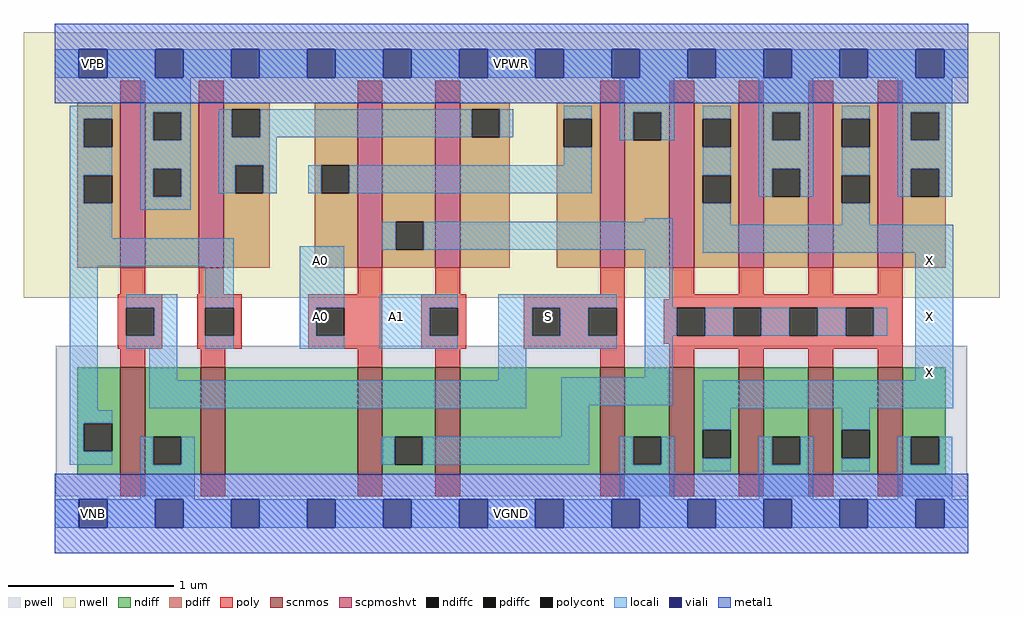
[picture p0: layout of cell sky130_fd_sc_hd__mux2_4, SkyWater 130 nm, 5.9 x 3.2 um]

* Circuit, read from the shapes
.subckt sky130_fd_sc_hd__mux2_4 A0 A1 S VGND VNB VPB VPWR X
XM1 VGND S n1 VNB sky130_fd_pr__nfet_01v8 w=0.65 l=0.15
XM2 n2 n1 VGND VNB sky130_fd_pr__nfet_01v8 w=0.65 l=0.15
XM3 n3 A0 n2 VNB sky130_fd_pr__nfet_01v8 w=0.65 l=0.15
XM4 n4 A1 n3 VNB sky130_fd_pr__nfet_01v8 w=0.65 l=0.15
XM5 VGND S n4 VNB sky130_fd_pr__nfet_01v8 w=0.65 l=0.15
XM6 X n3 VGND VNB sky130_fd_pr__nfet_01v8 w=0.65 l=0.15 m=4
XM7 VPWR S n1 VPB sky130_fd_pr__pfet_01v8_hvt w=1 l=0.15
XM8 n5 n1 VPWR VPB sky130_fd_pr__pfet_01v8_hvt w=1 l=0.15
XM9 n3 A0 n6 VPB sky130_fd_pr__pfet_01v8_hvt w=1 l=0.15
XM10 n5 A1 n3 VPB sky130_fd_pr__pfet_01v8_hvt w=1 l=0.15
XM11 VPWR S n6 VPB sky130_fd_pr__pfet_01v8_hvt w=1 l=0.15
XM12 X n3 VPWR VPB sky130_fd_pr__pfet_01v8_hvt w=1 l=0.15 m=4
.ends

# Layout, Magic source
magic
tech sky130A
magscale 1 2
<< nwell >>
rect -38 261 1142 582
<< pwell >>
rect 1 21 1103 203
rect 30 -17 64 21
<< scnmos >>
rect 79 47 109 177
rect 176 47 206 177
rect 366 47 396 177
rect 460 47 490 177
rect 659 47 689 177
rect 743 47 773 177
rect 827 47 857 177
rect 911 47 941 177
rect 995 47 1025 177
<< scpmoshvt >>
rect 79 297 109 497
rect 174 297 204 497
rect 366 297 396 497
rect 460 297 490 497
rect 659 297 689 497
rect 743 297 773 497
rect 827 297 857 497
rect 911 297 941 497
rect 995 297 1025 497
<< ndiff >>
rect 27 109 79 177
rect 27 75 35 109
rect 69 75 79 109
rect 27 47 79 75
rect 109 93 176 177
rect 109 59 119 93
rect 153 59 176 93
rect 109 47 176 59
rect 206 47 366 177
rect 396 93 460 177
rect 396 59 411 93
rect 445 59 460 93
rect 396 47 460 59
rect 490 47 659 177
rect 689 93 743 177
rect 689 59 699 93
rect 733 59 743 93
rect 689 47 743 59
rect 773 101 827 177
rect 773 67 783 101
rect 817 67 827 101
rect 773 47 827 67
rect 857 93 911 177
rect 857 59 867 93
rect 901 59 911 93
rect 857 47 911 59
rect 941 101 995 177
rect 941 67 951 101
rect 985 67 995 101
rect 941 47 995 67
rect 1025 93 1077 177
rect 1025 59 1035 93
rect 1069 59 1077 93
rect 1025 47 1077 59
<< pdiff >>
rect 27 477 79 497
rect 27 443 35 477
rect 69 443 79 477
rect 27 409 79 443
rect 27 375 35 409
rect 69 375 79 409
rect 27 297 79 375
rect 109 485 174 497
rect 109 451 119 485
rect 153 451 174 485
rect 109 417 174 451
rect 109 383 119 417
rect 153 383 174 417
rect 109 297 174 383
rect 204 489 260 497
rect 204 455 214 489
rect 248 455 260 489
rect 204 421 260 455
rect 204 387 218 421
rect 252 387 260 421
rect 204 297 260 387
rect 314 421 366 497
rect 314 387 322 421
rect 356 387 366 421
rect 314 297 366 387
rect 396 353 460 497
rect 396 319 412 353
rect 446 319 460 353
rect 396 297 460 319
rect 490 489 550 497
rect 490 455 504 489
rect 538 455 550 489
rect 490 297 550 455
rect 607 477 659 497
rect 607 443 615 477
rect 649 443 659 477
rect 607 297 659 443
rect 689 485 743 497
rect 689 451 699 485
rect 733 451 743 485
rect 689 297 743 451
rect 773 477 827 497
rect 773 443 783 477
rect 817 443 827 477
rect 773 409 827 443
rect 773 375 783 409
rect 817 375 827 409
rect 773 297 827 375
rect 857 485 911 497
rect 857 451 867 485
rect 901 451 911 485
rect 857 417 911 451
rect 857 383 867 417
rect 901 383 911 417
rect 857 297 911 383
rect 941 477 995 497
rect 941 443 951 477
rect 985 443 995 477
rect 941 409 995 443
rect 941 375 951 409
rect 985 375 995 409
rect 941 297 995 375
rect 1025 485 1077 497
rect 1025 451 1035 485
rect 1069 451 1077 485
rect 1025 417 1077 451
rect 1025 383 1035 417
rect 1069 383 1077 417
rect 1025 297 1077 383
<< ndiffc >>
rect 35 75 69 109
rect 119 59 153 93
rect 411 59 445 93
rect 699 59 733 93
rect 783 67 817 101
rect 867 59 901 93
rect 951 67 985 101
rect 1035 59 1069 93
<< pdiffc >>
rect 35 443 69 477
rect 35 375 69 409
rect 119 451 153 485
rect 119 383 153 417
rect 214 455 248 489
rect 218 387 252 421
rect 322 387 356 421
rect 412 319 446 353
rect 504 455 538 489
rect 615 443 649 477
rect 699 451 733 485
rect 783 443 817 477
rect 783 375 817 409
rect 867 451 901 485
rect 867 383 901 417
rect 951 443 985 477
rect 951 375 985 409
rect 1035 451 1069 485
rect 1035 383 1069 417
<< poly >>
rect 79 497 109 523
rect 174 497 204 523
rect 366 497 396 523
rect 460 497 490 523
rect 659 497 689 523
rect 743 497 773 523
rect 827 497 857 523
rect 911 497 941 523
rect 995 497 1025 523
rect 79 265 109 297
rect 174 265 204 297
rect 366 265 396 297
rect 460 265 490 297
rect 659 265 689 297
rect 76 249 130 265
rect 76 215 86 249
rect 120 215 130 249
rect 76 199 130 215
rect 172 249 226 265
rect 172 215 182 249
rect 216 215 226 249
rect 172 199 226 215
rect 306 249 396 265
rect 306 215 316 249
rect 350 215 396 249
rect 306 199 396 215
rect 443 249 497 265
rect 443 215 453 249
rect 487 215 497 249
rect 443 199 497 215
rect 567 249 689 265
rect 743 265 773 297
rect 827 265 857 297
rect 911 265 941 297
rect 995 265 1025 297
rect 743 259 1025 265
rect 567 215 577 249
rect 611 215 645 249
rect 679 215 689 249
rect 567 199 689 215
rect 736 249 1025 259
rect 736 215 752 249
rect 786 215 820 249
rect 854 215 888 249
rect 922 215 956 249
rect 990 215 1025 249
rect 736 205 1025 215
rect 79 177 109 199
rect 176 177 206 199
rect 366 177 396 199
rect 460 177 490 199
rect 659 177 689 199
rect 743 199 1025 205
rect 743 177 773 199
rect 827 177 857 199
rect 911 177 941 199
rect 995 177 1025 199
rect 79 21 109 47
rect 176 21 206 47
rect 366 21 396 47
rect 460 21 490 47
rect 659 21 689 47
rect 743 21 773 47
rect 827 21 857 47
rect 911 21 941 47
rect 995 21 1025 47
<< polycont >>
rect 86 215 120 249
rect 182 215 216 249
rect 316 215 350 249
rect 453 215 487 249
rect 577 215 611 249
rect 645 215 679 249
rect 752 215 786 249
rect 820 215 854 249
rect 888 215 922 249
rect 956 215 990 249
<< locali >>
rect 0 527 29 561
rect 63 527 121 561
rect 155 527 213 561
rect 247 527 305 561
rect 339 527 397 561
rect 431 527 489 561
rect 523 527 581 561
rect 615 527 673 561
rect 707 527 765 561
rect 799 527 857 561
rect 891 527 949 561
rect 983 527 1041 561
rect 1075 527 1104 561
rect 18 477 69 493
rect 18 443 35 477
rect 18 409 69 443
rect 18 375 35 409
rect 18 333 69 375
rect 103 485 164 527
rect 103 451 119 485
rect 153 451 164 485
rect 103 417 164 451
rect 103 383 119 417
rect 153 383 164 417
rect 198 455 214 489
rect 248 455 504 489
rect 538 455 554 489
rect 615 477 649 493
rect 198 421 268 455
rect 683 485 749 527
rect 683 451 699 485
rect 733 451 749 485
rect 783 477 817 493
rect 615 421 649 443
rect 198 387 218 421
rect 252 387 268 421
rect 306 387 322 421
rect 356 387 649 421
rect 783 409 817 443
rect 103 367 164 383
rect 851 485 917 527
rect 851 451 867 485
rect 901 451 917 485
rect 851 417 917 451
rect 851 383 867 417
rect 901 383 917 417
rect 951 477 985 493
rect 951 409 985 443
rect 713 353 747 357
rect 18 299 216 333
rect 18 125 52 299
rect 86 249 148 265
rect 120 215 148 249
rect 86 199 148 215
rect 182 249 216 299
rect 182 199 216 215
rect 296 249 350 323
rect 396 319 412 353
rect 446 319 747 353
rect 296 215 316 249
rect 296 199 350 215
rect 393 249 487 265
rect 393 215 453 249
rect 393 199 487 215
rect 536 249 679 265
rect 536 215 577 249
rect 611 215 645 249
rect 536 199 679 215
rect 713 249 747 319
rect 783 349 817 375
rect 1019 485 1085 527
rect 1019 451 1035 485
rect 1069 451 1085 485
rect 1019 417 1085 451
rect 1019 383 1035 417
rect 1069 383 1085 417
rect 951 349 985 375
rect 783 315 1086 349
rect 713 215 752 249
rect 786 215 820 249
rect 854 215 888 249
rect 922 215 956 249
rect 990 215 1006 249
rect 114 161 148 199
rect 536 161 570 199
rect 713 165 747 215
rect 114 127 570 161
rect 612 131 747 165
rect 1040 161 1086 315
rect 18 109 69 125
rect 18 75 35 109
rect 612 93 646 131
rect 783 127 1086 161
rect 783 101 817 127
rect 18 59 69 75
rect 103 59 119 93
rect 153 59 169 93
rect 395 59 411 93
rect 445 59 646 93
rect 683 59 699 93
rect 733 59 749 93
rect 103 17 169 59
rect 683 17 749 59
rect 951 101 985 127
rect 783 51 817 67
rect 851 59 867 93
rect 901 59 917 93
rect 851 17 917 59
rect 951 51 985 67
rect 1019 59 1035 93
rect 1069 59 1085 93
rect 1019 17 1085 59
rect 0 -17 29 17
rect 63 -17 121 17
rect 155 -17 213 17
rect 247 -17 305 17
rect 339 -17 397 17
rect 431 -17 489 17
rect 523 -17 581 17
rect 615 -17 673 17
rect 707 -17 765 17
rect 799 -17 857 17
rect 891 -17 949 17
rect 983 -17 1041 17
rect 1075 -17 1104 17
<< viali >>
rect 29 527 63 561
rect 121 527 155 561
rect 213 527 247 561
rect 305 527 339 561
rect 397 527 431 561
rect 489 527 523 561
rect 581 527 615 561
rect 673 527 707 561
rect 765 527 799 561
rect 857 527 891 561
rect 949 527 983 561
rect 1041 527 1075 561
rect 29 -17 63 17
rect 121 -17 155 17
rect 213 -17 247 17
rect 305 -17 339 17
rect 397 -17 431 17
rect 489 -17 523 17
rect 581 -17 615 17
rect 673 -17 707 17
rect 765 -17 799 17
rect 857 -17 891 17
rect 949 -17 983 17
rect 1041 -17 1075 17
<< metal1 >>
rect 0 561 1104 592
rect 0 527 29 561
rect 63 527 121 561
rect 155 527 213 561
rect 247 527 305 561
rect 339 527 397 561
rect 431 527 489 561
rect 523 527 581 561
rect 615 527 673 561
rect 707 527 765 561
rect 799 527 857 561
rect 891 527 949 561
rect 983 527 1041 561
rect 1075 527 1104 561
rect 0 496 1104 527
rect 0 17 1104 48
rect 0 -17 29 17
rect 63 -17 121 17
rect 155 -17 213 17
rect 247 -17 305 17
rect 339 -17 397 17
rect 431 -17 489 17
rect 523 -17 581 17
rect 615 -17 673 17
rect 707 -17 765 17
rect 799 -17 857 17
rect 891 -17 949 17
rect 983 -17 1041 17
rect 1075 -17 1104 17
rect 0 -48 1104 -17
<< labels >>
flabel locali s 1040 153 1074 187 0 FreeSans 200 0 0 0 X
port 8 nsew signal output
flabel locali s 1040 221 1074 255 0 FreeSans 200 0 0 0 X
port 8 nsew signal output
flabel locali s 1040 289 1074 323 0 FreeSans 200 0 0 0 X
port 8 nsew signal output
flabel locali s 580 221 614 255 0 FreeSans 200 0 0 0 S
port 3 nsew signal input
flabel locali s 304 221 338 255 0 FreeSans 200 0 0 0 A0
port 1 nsew signal input
flabel locali s 396 221 430 255 0 FreeSans 200 0 0 0 A1
port 2 nsew signal input
flabel locali s 304 289 338 323 0 FreeSans 200 0 0 0 A0
port 1 nsew signal input
flabel pwell s 30 -17 64 17 0 FreeSans 200 0 0 0 VNB
port 5 nsew ground bidirectional
flabel nwell s 30 527 64 561 0 FreeSans 200 0 0 0 VPB
port 6 nsew power bidirectional
flabel metal1 s 30 527 64 561 0 FreeSans 200 0 0 0 VPWR
port 7 nsew power bidirectional abutment
flabel metal1 s 30 -17 64 17 0 FreeSans 200 0 0 0 VGND
port 4 nsew ground bidirectional abutment
rlabel comment s 0 0 0 0 4 mux2_4
rlabel metal1 s 0 -48 1104 48 1 VGND
port 4 nsew ground bidirectional abutment
rlabel metal1 s 0 496 1104 592 1 VPWR
port 7 nsew power bidirectional abutment
<< properties >>
string FIXED_BBOX 0 0 1104 544
string GDS_END 1685800
string GDS_FILE $PDKPATH/libs.ref/sky130_fd_sc_hd/gds/sky130_fd_sc_hd.gds
string GDS_START 1677466
string LEFclass CORE
string LEFsite unithd
string LEFsymmetry X Y R90
string path 0.000 0.000 27.600 0.000 
<< end >>
